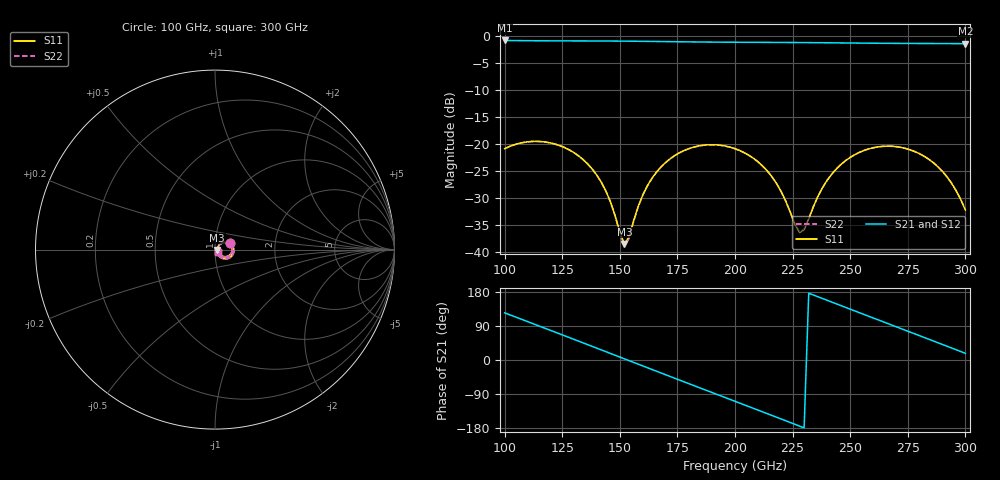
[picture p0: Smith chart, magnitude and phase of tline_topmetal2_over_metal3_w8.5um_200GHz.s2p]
#  GHZ S DB R 50
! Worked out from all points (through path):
!   101 points, 100 GHz to 300 GHz, reference 50 ohm
!   highest |S21| = -0.77 dB at 100 GHz (marker M1); lowest = -1.4 dB at 300 GHz (marker M2)
!   group delay of S21, straight-line fit = 6.49 ps
!   lowest |S11| = -38.6 dB at 152 GHz (marker M3), VSWR 1.02, Z = 51.2 - j0.218 ohm
!   |S11| at or under -10 dB: start of sweep to end of sweep
!   |S22| runs from -39.0 to -19.5 dB; largest |S21 - S12| = 1.6e-14
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100  -20.87 22.2  -0.77 124.5  -0.77 124.5  -20.89 22.4
116  -19.56 -10.2  -0.83 87.3  -0.83 87.3  -19.57 -10.3
124  -20.32 -26.4  -0.85 68.7  -0.85 68.7  -20.33 -26.5
134  -22.88 -45.5  -0.86 45.3  -0.86 45.3  -22.89 -45.8
144  -28.78 -58.0  -0.87 21.9  -0.87 21.9  -28.81 -58.8
152  -38.58 -10.4  -0.90 3.1  -0.90 3.1  -38.99 -11.1
160  -29.45 47.7  -0.93 -15.7  -0.93 -15.7  -29.52 48.5
168  -24.22 39.7  -0.97 -34.5  -0.97 -34.5  -24.25 40.1
184  -20.39 9.8  -1.05 -71.8  -1.05 -71.8  -20.41 10.1
200  -20.88 -21.6  -1.10 -109.0  -1.10 -109.0  -20.89 -21.4
216  -26.07 -47.3  -1.13 -146.3  -1.13 -146.3  -26.08 -47.1
228  -36.50 -8.6  -1.16 -174.4  -1.16 -174.4  -36.38 -8.2
230  -35.97 16.5  -1.16 -179.1  -1.16 -179.1  -35.85 16.5
234  -31.70 41.9  -1.18 171.6  -1.18 171.6  -31.64 41.5
240  -26.76 44.8  -1.20 157.5  -1.20 157.5  -26.74 44.6
248  -23.10 34.3  -1.23 138.8  -1.23 138.8  -23.09 34.1
258  -20.92 16.2  -1.28 115.5  -1.28 115.5  -20.92 16.0
268  -20.43 -3.2  -1.31 92.3  -1.31 92.3  -20.43 -3.4
276  -21.09 -18.6  -1.32 73.7  -1.32 73.7  -21.08 -18.8
286  -23.46 -36.2  -1.34 50.4  -1.34 50.4  -23.45 -36.2
294  -27.30 -45.2  -1.35 31.7  -1.35 31.7  -27.29 -45.1
300  -32.27 -38.8  -1.37 17.6  -1.37 17.6  -32.22 -38.5
